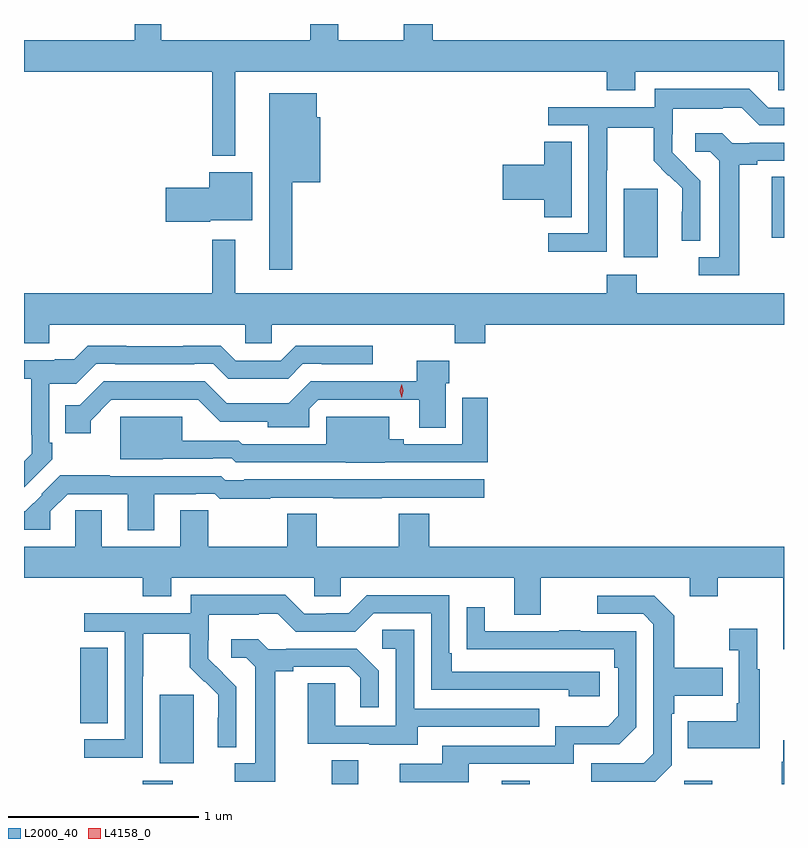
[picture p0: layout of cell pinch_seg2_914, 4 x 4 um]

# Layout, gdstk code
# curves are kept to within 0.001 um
import gdstk
lib = gdstk.Library(unit=1e-6, precision=1e-09)
def R(c, l, rs):  # rectangles x0, y0, x1, y1
    for r in rs: c.add(gdstk.rectangle(r[:2], r[2:], *l))
def P(c, l, *ps):  # polygons
    for p in ps: c.add(gdstk.Polygon(p, *l))
L2000_40 = (2000, 40)
L4158_0 = (4158, 0)

pinch_seg2_914 = lib.new_cell('pinch_seg2_914')
R(pinch_seg2_914, L2000_40, [(372.137,654.542,372.297,654.559), (373.133,654.542,373.273,654.668), (374.027,654.542,374.175,654.559), (374.988,654.542,375.135,654.559), (372.227,654.65,372.406,655.011), (371.81,654.862,371.953,655.259), (374.669,657.314,374.848,657.675), (375.449,657.417,375.513,657.737)])
P(pinch_seg2_914, L2000_40, [(372.625,658.292),(374.579,658.292),(374.579,658.193),(374.731,658.193),(374.731,658.292),(375.483,658.292),(375.483,658.194),(375.513,658.194),(375.513,658.456),(373.664,658.456),(373.664,658.542),(373.511,658.542),(373.511,658.456),(373.167,658.456),(373.167,658.542),(373.019,658.542),(373.019,658.456),(372.235,658.456),(372.235,658.542),(372.095,658.542),(372.095,658.456),(371.513,658.456),(371.513,658.292),(372.504,658.292),(372.504,657.848),(372.625,657.848)],
  [(374.58,657.772),(374.583,657.772),(374.583,657.996),(374.827,657.996),(374.827,657.821),(374.904,657.744),(374.907,657.747),(374.978,657.677),(374.978,657.554),(374.976,657.554),(374.976,657.4),(375.072,657.4),(375.072,657.718),(374.926,657.866),(374.926,657.963),(374.928,657.963),(374.928,658.097),(375.191,658.097),(375.191,658.101),(375.291,658.101),(375.384,658.008),(375.513,658.008),(375.513,658.101),(375.429,658.101),(375.329,658.201),(374.832,658.201),(374.832,658.104),(374.271,658.104),(374.271,658.008),(374.484,658.008),(374.484,657.441),(374.271,657.441),(374.271,657.343),(374.58,657.343)],
  [(372.925,657.71),(373.072,657.71),(373.072,658.05),(373.054,658.05),(373.054,658.177),(372.803,658.177),(372.803,657.249),(372.925,657.249)],
  [(375.277,657.8),(375.373,657.8),(375.373,657.822),(375.513,657.822),(375.513,657.918),(375.334,657.918),(375.334,657.915),(375.24,657.915),(375.188,657.967),(375.045,657.967),(375.045,657.87),(375.126,657.87),(375.173,657.823),(375.173,657.315),(375.063,657.315),(375.063,657.219),(375.277,657.219)],
  [(374.395,657.923),(374.252,657.923),(374.252,657.8),(374.034,657.8),(374.034,657.617),(374.252,657.617),(374.252,657.526),(374.395,657.526)],
  [(372.492,657.509),(372.715,657.509),(372.715,657.763),(372.488,657.763),(372.488,657.68),(372.258,657.68),(372.258,657.502),(372.492,657.502)],
  [(371.647,656.96),(372.678,656.96),(372.678,656.862),(372.816,656.862),(372.816,656.96),(373.78,656.96),(373.78,656.861),(373.94,656.861),(373.94,656.96),(375.513,656.96),(375.513,657.124),(374.739,657.124),(374.739,657.223),(374.579,657.223),(374.579,657.124),(372.625,657.124),(372.625,657.406),(372.504,657.406),(372.504,657.124),(371.513,657.124),(371.513,656.861),(371.647,656.861)],
  [(371.561,656.152),(371.562,656.151),(371.661,656.25),(371.661,656.338),(371.646,656.338),(371.646,656.649),(371.787,656.649),(371.892,656.754),(371.992,656.754),(371.992,656.751),(372.41,656.751),(372.41,656.754),(372.51,656.754),(372.588,656.676),(372.903,656.676),(372.981,656.754),(373.081,656.754),(373.081,656.751),(373.348,656.751),(373.348,656.848),(372.943,656.848),(372.864,656.769),(372.627,656.769),(372.548,656.848),(371.848,656.848),(371.778,656.778),(371.675,656.778),(371.675,656.773),(371.513,656.773),(371.513,656.676),(371.55,656.675),(371.55,656.38),(371.553,656.38),(371.553,656.281),(371.513,656.241),(371.513,656.104)],
  [(371.863,656.455),(371.973,656.565),(372.429,656.565),(372.546,656.448),(372.795,656.448),(372.795,656.42),(373.014,656.42),(373.014,656.517),(373.062,656.565),(373.592,656.565),(373.592,656.416),(373.732,656.416),(373.732,656.652),(373.751,656.652),(373.751,656.77),(373.58,656.77),(373.58,656.661),(373.022,656.661),(372.906,656.545),(372.581,656.545),(372.465,656.661),(371.933,656.661),(371.807,656.535),(371.731,656.535),(371.731,656.388),(371.863,656.388)],
  [(373.412,656.235),(373.955,656.235),(373.955,656.575),(373.82,656.575),(373.82,656.331),(373.512,656.331),(373.512,656.356),(373.435,656.356),(373.435,656.476),(373.104,656.476),(373.104,656.331),(372.763,656.331),(372.763,656.329),(372.662,656.329),(372.642,656.349),(372.346,656.349),(372.346,656.476),(372.02,656.476),(372.02,656.252),(372.506,656.253),(372.506,656.256),(372.606,656.256),(372.627,656.235)],
  [(372.199,656.067),(372.416,656.067),(372.416,656.07),(372.516,656.07),(372.542,656.044),(372.809,656.044),(372.809,656.049),(373.141,656.049),(373.141,656.047),(373.397,656.047),(373.397,656.049),(373.936,656.049),(373.936,656.145),(372.673,656.145),(372.673,656.142),(372.573,656.142),(372.552,656.163),(371.963,656.163),(371.963,656.166),(371.703,656.166),(371.605,656.068),(371.608,656.065),(371.52,655.977),(371.513,655.977),(371.513,655.881),(371.652,655.881),(371.652,655.977),(371.742,656.067),(372.059,656.067),(372.059,655.878),(372.199,655.878)],
  [(375.513,655.792),(373.646,655.792),(373.646,655.964),(373.486,655.964),(373.486,655.792),(373.053,655.792),(373.053,655.964),(372.898,655.964),(372.898,655.792),(372.483,655.792),(372.483,655.982),(372.335,655.982),(372.335,655.792),(371.923,655.792),(371.923,655.982),(371.784,655.982),(371.784,655.792),(371.513,655.792),(371.513,655.628),(372.137,655.628),(372.137,655.529),(372.289,655.529),(372.289,655.628),(373.041,655.628),(373.041,655.53),(373.179,655.53),(373.179,655.628),(374.093,655.628),(374.093,655.434),(374.233,655.434),(374.233,655.628),(375.017,655.628),(375.017,655.529),(375.165,655.529),(375.165,655.628),(375.509,655.628),(375.509,655.251),(375.513,655.251)],
  [(372.138,655.108),(372.141,655.108),(372.141,655.332),(372.385,655.332),(372.385,655.157),(372.462,655.08),(372.465,655.083),(372.536,655.013),(372.536,654.89),(372.534,654.89),(372.534,654.736),(372.63,654.736),(372.63,655.054),(372.484,655.202),(372.484,655.299),(372.486,655.299),(372.486,655.433),(372.749,655.433),(372.749,655.437),(372.849,655.437),(372.942,655.344),(373.257,655.344),(373.353,655.44),(373.656,655.44),(373.656,655.038),(374.381,655.038),(374.381,655.004),(374.542,655.004),(374.542,655.134),(373.765,655.134),(373.765,655.231),(373.752,655.231),(373.752,655.536),(373.317,655.536),(373.221,655.44),(373.103,655.44),(373.103,655.437),(372.987,655.437),(372.887,655.537),(372.39,655.537),(372.39,655.44),(371.829,655.44),(371.829,655.344),(372.042,655.344),(372.042,654.777),(371.829,654.777),(371.829,654.679),(372.138,654.679)],
  [(374.922,654.642),(374.922,654.911),(374.935,654.911),(374.935,655.007),(375.191,655.007),(375.191,655.155),(374.935,655.155),(374.935,655.427),(374.829,655.533),(374.529,655.533),(374.529,655.437),(374.772,655.437),(374.826,655.383),(374.826,654.702),(374.775,654.651),(374.499,654.651),(374.499,654.555),(374.835,654.555)],
  [(373.855,654.648),(374.406,654.648),(374.406,654.75),(374.646,654.75),(374.736,654.84),(374.736,655.347),(374.441,655.347),(374.441,655.352),(374.329,655.352),(374.329,655.347),(373.939,655.347),(373.939,655.471),(373.843,655.471),(373.843,655.252),(374.62,655.251),(374.62,655.154),(374.64,655.154),(374.64,654.9),(374.587,654.847),(374.31,654.847),(374.31,654.744),(373.715,654.744),(373.715,654.648),(373.491,654.648),(373.491,654.552),(373.855,654.552)],
  [(375.385,655.147),(375.373,655.147),(375.373,655.36),(375.225,655.36),(375.225,655.247),(375.276,655.247),(375.276,654.967),(375.264,654.967),(375.264,654.871),(375.007,654.871),(375.007,654.731),(375.385,654.731)],
  [(373.585,654.843),(374.225,654.843),(374.225,654.939),(373.566,654.939),(373.566,655.355),(373.398,655.355),(373.398,655.254),(373.47,655.254),(373.47,654.849),(373.152,654.849),(373.152,655.073),(373.007,655.073),(373.007,654.753),(373.331,654.753),(373.331,654.749),(373.585,654.749)],
  [(372.835,655.136),(372.931,655.136),(372.931,655.158),(373.226,655.158),(373.283,655.101),(373.283,654.945),(373.38,654.945),(373.38,655.138),(373.264,655.254),(372.892,655.254),(372.892,655.251),(372.798,655.251),(372.746,655.303),(372.603,655.303),(372.603,655.206),(372.684,655.206),(372.731,655.159),(372.731,654.651),(372.621,654.651),(372.621,654.555),(372.835,654.555)],
  [(375.513,654.772),(375.509,654.772),(375.509,654.659),(375.502,654.659),(375.502,654.542),(375.513,654.542)])
P(pinch_seg2_914, L4158_0, [(373.5,656.575),(373.5,656.575),(373.49,656.611),(373.5,656.647),(373.501,656.647),(373.501,656.647),(373.51,656.611),(373.5,656.575)])

lib.write_gds('pinch_seg2_914.gds')
